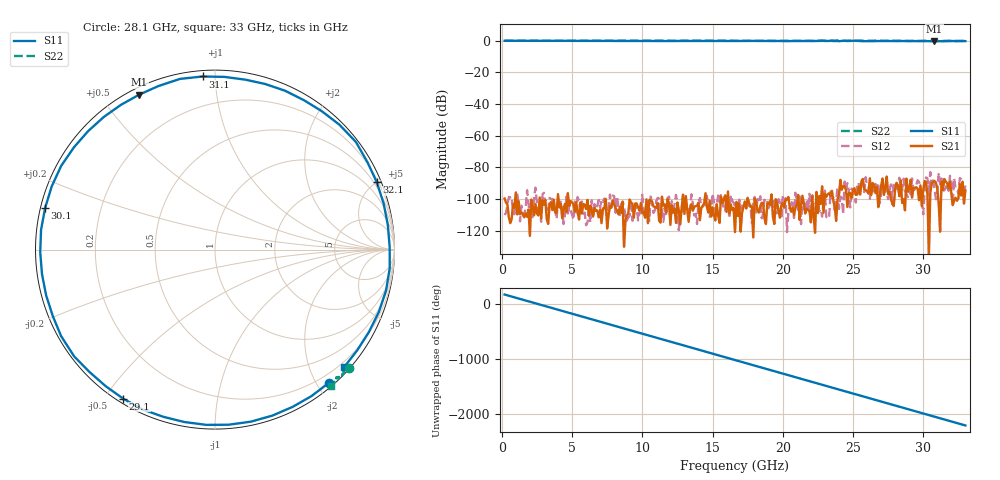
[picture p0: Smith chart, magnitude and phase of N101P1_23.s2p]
# GHZ S RI R 50
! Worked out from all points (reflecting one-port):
!   329 points, 200 MHz to 33 GHz, reference 50 ohm
!   lowest |S11| = -0.3 dB at 30.8 GHz (marker M1), VSWR 50.39, Z = 1.38 + j31.2 ohm
!   phase of S11 starts at 165 deg and turns -2368 deg over the sweep
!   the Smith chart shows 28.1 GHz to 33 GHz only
!   S11 on the Smith chart (normalised r, x): 28.1 GHz: 0.07, -2.17; 29.1 GHz: 0.02, -0.56; 30.1 GHz: 0.01, +0.12; 31.1 GHz: 0.03, +0.93; 32.1 GHz: 0.31, +4.99; 33 GHz: 0.10, -2.58
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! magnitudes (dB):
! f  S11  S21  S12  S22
! 200 MHz  0.0  -99.7  -110.2  0.0
! 5.7 GHz  -0.1  -109.1  -101.5  0.0
! 11.2 GHz  -0.2  -113.7  -99.8  0.0
! 16.6 GHz  -0.2  -120.9  -104.9  -0.1
! 19.5 GHz  -0.1  -100.1  -109.2  -0.1
! 22.1 GHz  -0.2  -98.2  -97.6  -0.1
! 22.7 GHz  0.0  -103.2  -106.5  0.1
! 23.2 GHz  -0.1  -97.0  -112.4  0.0
! 23.9 GHz  -0.2  -100.1  -92.9  0.2
! 24.1 GHz  -0.2  -88.0  -98.6  -0.1
! 24.8 GHz  -0.1  -96.2  -105.4  0.0
! 25 GHz  0.0  -94.3  -95.2  0.0
! 25.6 GHz  -0.3  -88.9  -89.8  0.0
! 27.6 GHz  -0.2  -95.1  -94.9  0.0
! 28.1 GHz  -0.2  -89.8  -93.6  0.0
! 29.1 GHz  -0.2  -87.9  -97.1  -0.1
! 30.1 GHz  -0.2  -88.6  -95.1  0.0
! 30.8 GHz  -0.3  -88.7  -93.6  -0.1
! 31.1 GHz  -0.3  -103.1  -83.4  -0.2
! 31.8 GHz  -0.2  -93.3  -94.8  0.0
! 32.1 GHz  -0.2  -103.9  -103.3  -0.2
! 33 GHz  -0.2  -94.6  -91.4  0.0
